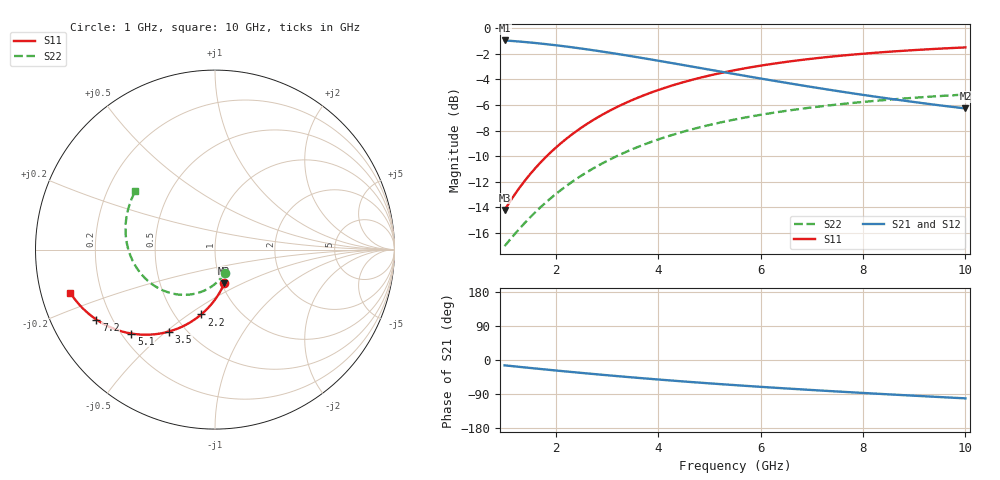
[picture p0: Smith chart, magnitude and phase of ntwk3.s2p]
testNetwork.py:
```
import unittest
import mwavepy as mv

class NetworkOperationsTestCase(unittest.TestCase):
	'''
	Network class operation test case. 
	
	 As tested by lihan in ADS the following is true:
		test 3 == test1 ** test2
	
	'''
	def setUp(self):
		self.ntwk1 =mv.Network('ntwk1.s2p')
		self.ntwk2 =mv.Network('ntwk2.s2p')
		self.ntwk3 =mv.Network('ntwk3.s2p')

	def test_cascade(self):
		self.assertEqual(self.ntwk1**self.ntwk2, self.ntwk3)

	def test_de_embed_by_inv(self):
		self.assertEqual(self.ntwk1.inv**self.ntwk3,self.ntwk2)
		self.assertEqual(self.ntwk3**self.ntwk2.inv,self.ntwk1)

if __name__ == "__main__":
   unittest.main()
```
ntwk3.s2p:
! Created Thu Nov 11 11:19:04 2010
# ghz S ri R 50
! 2 Port Network Data from SP1.SP block
! freq  reS11  imS11  reS21  imS21  reS12  imS12  reS22  imS22
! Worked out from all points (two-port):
!   91 points, 1 GHz to 10 GHz, reference 50 ohm
!   highest |S21| = -0.96 dB at 1 GHz (marker M1); lowest = -6.3 dB at 10 GHz (marker M2)
!   |S21| within 3 dB of the highest: start of sweep to 6.043 GHz
!   lowest |S11| = -14.2 dB at 1 GHz (marker M3), VSWR 1.48, Z = 51.5 - j20.1 ohm
!   |S11| at or under -10 dB: start of sweep to 1.821 GHz
!   |S22| runs from -17.0 to -5.2 dB; largest |S21 - S12| = 0
!   S11 on the Smith chart (normalised r, x): 1 GHz: 1.03, -0.40; 2.2 GHz: 0.67, -0.56; 3.5 GHz: 0.40, -0.51; 5.1 GHz: 0.24, -0.40; 7.2 GHz: 0.14, -0.27; 10 GHz: 0.09, -0.15
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1  0.052 -0.1879  0.8681 -0.2188  0.8681 -0.2188  0.0535 -0.1304
1.6  -0.00398 -0.2841  0.8091 -0.3329  0.8091 -0.3329  0.000248 -0.1912
2.2  -0.0767 -0.3611  0.7323 -0.4272  0.7323 -0.4272  -0.0678 -0.2319
2.8  -0.1588 -0.4171  0.6452 -0.4996  0.6452 -0.4996  -0.1429 -0.2506
3.5  -0.2581 -0.4569  0.5393 -0.5575  0.5393 -0.5575  -0.2304 -0.2461
4.3  -0.3672 -0.4739  0.4219 -0.594  0.4219 -0.594  -0.3206 -0.2119
5.1  -0.4656 -0.4677  0.3147 -0.6064  0.3147 -0.6064  -0.3938 -0.155
5.5  -0.5098 -0.4582  0.2658 -0.6059  0.2658 -0.6059  -0.4232 -0.1206
7.2  -0.6612 -0.3895  0.0931 -0.5732  0.0931 -0.5732  -0.4934 0.0482
8.6  -0.7468 -0.3167  -0.0126 -0.5276  -0.0126 -0.5276  -0.4911 0.1926
10  -0.8058 -0.2409  -0.0945 -0.4767  -0.0945 -0.4767  -0.4436 0.3261
